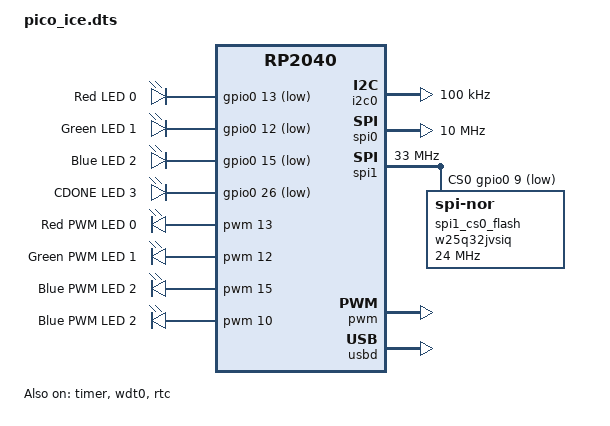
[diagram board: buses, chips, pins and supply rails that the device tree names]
/*
 * Copyright (c) 2025 tinyVision.ai
 *
 * SPDX-License-Identifier: Apache-2.0
 */

/dts-v1/;

#include <freq.h>

#include <raspberrypi/rpi_pico/rp2040.dtsi>
#include "pico_ice-pinctrl.dtsi"
#include <zephyr/dt-bindings/pwm/pwm.h>
#include <zephyr/dt-bindings/i2c/i2c.h>


/ {
	chosen {
		zephyr,sram = &sram0;
		zephyr,flash = &flash0;
		zephyr,flash-controller = &ssi;
		zephyr,console = &cdc_acm_uart0;
		zephyr,shell-uart = &cdc_acm_uart0;
		zephyr,code-partition = &code_partition;
	};

	leds {
		compatible = "gpio-leds";
		led0_red: led_0 {
			gpios = <&gpio0 13 GPIO_ACTIVE_LOW>;
			label = "Red LED 0";
		};
		led1_green: led_1 {
			gpios = <&gpio0 12 GPIO_ACTIVE_LOW>;
			label = "Green LED 1";
		};
		led2_blue: led_2 {
			gpios = <&gpio0 15 GPIO_ACTIVE_LOW>;
			label = "Blue LED 2";
		};
		led3_cdone: led_3 {
			gpios = <&gpio0 26 GPIO_ACTIVE_LOW>;
			label = "CDONE LED 3";
		};
	};

	pwmleds {
		compatible = "pwm-leds";
		pwm_led0_red: pwm_led_0 {
			pwms = <&pwm 13 PWM_MSEC(20) PWM_POLARITY_INVERTED>;
			label = "Red PWM LED 0";
		};
		pwm_led1_green: pwm_led_1 {
			pwms = <&pwm 12 PWM_MSEC(20) PWM_POLARITY_INVERTED>;
			label = "Green PWM LED 1";
		};
		pwm_led2_blue: pwm_led_2 {
			pwms = <&pwm 15 PWM_MSEC(20) PWM_POLARITY_INVERTED>;
			label = "Blue PWM LED 2";
		};
		pwm_led3_cdone: pwm_led_3 {
			pwms = <&pwm 10 PWM_MSEC(20) PWM_POLARITY_INVERTED>;
			label = "Blue PWM LED 2";
		};
	};

	aliases {
		rtc = &rtc;
		watchdog0 = &wdt0;
		led0 = &led0_red;
		led1 = &led1_green;
		led2 = &led2_blue;
		led3 = &led3_cdone;
		pwm-led0 = &pwm_led0_red;
		pwm-led1 = &pwm_led1_green;
		pwm-led2 = &pwm_led2_blue;
		pwm-led3 = &pwm_led3_cdone;
		green-pwm-led = &pwm_led1_green;
		red-pwm-led = &pwm_led0_red;
		blue-pwm-led = &pwm_led2_blue;
		yellow-pwm-led = &pwm_led3_cdone;
		fpga = &fpga_ice40;
	};

	spi_fpga: spi_bitbang {
		compatible = "zephyr,spi-bitbang";
		status = "disabled";
		#address-cells = <1>;
		#size-cells = <0>;
		clock-frequency = <DT_FREQ_M(1)>;
		clk-gpios = <&gpio0 10 0>;
		mosi-gpios = <&gpio0 8 0>;
		cs-gpios = <&gpio0 9 GPIO_ACTIVE_LOW>;

		fpga_ice40: ice40@0 {
			status = "disabled";
			compatible = "lattice,ice40-fpga";
			reg = <0x0>;
			spi-max-frequency = <DT_FREQ_M(1)>;

			cdone-gpios = <&gpio0 26 0>;
			creset-gpios = <&gpio0 27 0>;
			config-delay-us = <3900>;
		};
	};
};

&flash0 {
	reg = <0x10000000 DT_SIZE_M(4)>;

	partitions {
		compatible = "fixed-partitions";
		#address-cells = <1>;
		#size-cells = <1>;

		/* Reserved memory for the second stage bootloader */
		second_stage_bootloader: partition@0 {
			label = "second_stage_bootloader";
			reg = <0x00000000 0x100>;
			read-only;
		};

		code_partition: partition@100 {
			label = "code-partition";
			reg = <0x100 (DT_SIZE_M(4) - 0x100)>;
			read-only;
		};
	};
};

ice_uart: &uart0 {
	current-speed = <115200>;
	status = "disabled";
	pinctrl-0 = <&ice_uart_default>;
	pinctrl-names = "default";
};

&gpio0 {
	status = "okay";
};

&i2c0 {
	clock-frequency = <I2C_BITRATE_STANDARD>;
	status = "okay";
	pinctrl-0 = <&i2c0_default>;
	pinctrl-names = "default";
};

&spi0 {
	clock-frequency = <DT_FREQ_M(10)>;
	status = "okay";
	pinctrl-0 = <&spi0_default>;
	pinctrl-names = "default";
};

&spi1 {
	clock-frequency = <DT_FREQ_M(33)>;
	status = "okay";
	pinctrl-0 = <&spi1_default>;
	pinctrl-names = "default";

	cs-gpios = <&gpio0 9 GPIO_ACTIVE_LOW>,
			<&gpio0 14 GPIO_ACTIVE_LOW>;

	spi1_cs0_flash: w25q32jvsiq@0 {
		compatible = "jedec,spi-nor";
		size = <DT_SIZE_M(4)>;
		reg = <0x0>;
		spi-max-frequency = <DT_FREQ_M(24)>;
		jedec-id = [ef 40 16];
		status = "okay";
	};

	/* This is unsupported in zephyr ATM */
	spi1_cs1_ram: aps6404l@1 {
		compatible = "apmem,spi-ram";
		size = <DT_SIZE_M(8)>;
		reg = <0x1>;
		spi-max-frequency = <DT_FREQ_M(33)>;
		status = "disabled";
	};
};

&timer {
	status = "okay";
};

&wdt0 {
	status = "okay";
};

&rtc {
	clocks = <&clocks RPI_PICO_CLKID_CLK_RTC>;
	status = "okay";
};

&pwm {
	pinctrl-0 = <&pwm_rgbled_default>;
	pinctrl-names = "default";
	status = "okay";
};

&vreg {
	regulator-always-on;
	regulator-allowed-modes = <REGULATOR_RPI_PICO_MODE_NORMAL>;
};

pico_spi: &spi0 {};
pico_i2c0: &i2c0 {};
pico_i2c1: &i2c1 {};
pico_serial: &uart1 {};

zephyr_udc0: &usbd {
	status = "okay";
};

#include <../boards/common/usb/cdc_acm_serial.dtsi>


